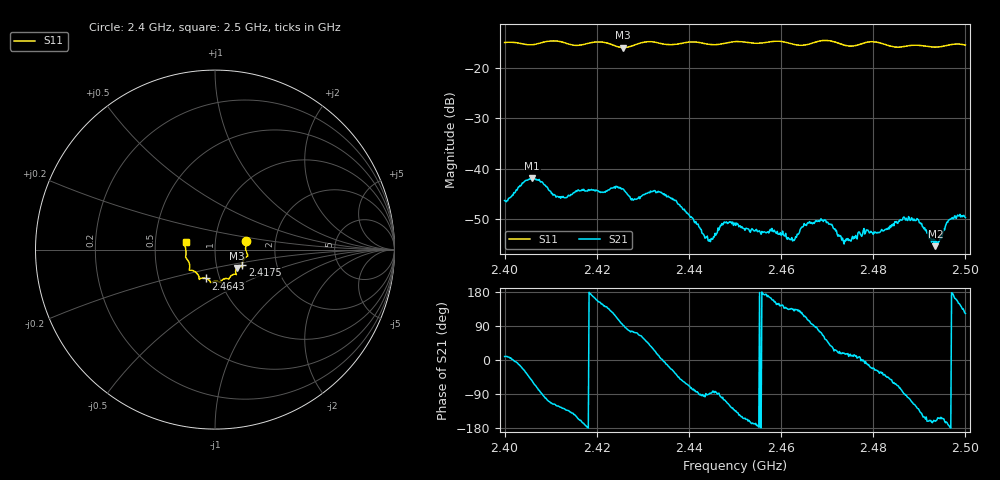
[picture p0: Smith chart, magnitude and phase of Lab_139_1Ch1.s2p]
# Hz S RI R 50
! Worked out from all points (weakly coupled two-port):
!   601 points, 2.4 GHz to 2.5 GHz, reference 50 ohm
!   highest |S21| = -41.89 dB at 2.406 GHz (marker M1); lowest = -55.4 dB at 2.4935 GHz (marker M2)
!   lowest |S11| = -15.9 dB at 2.4257 GHz (marker M3), VSWR 1.38, Z = 62.5 - j13.1 ohm
!   |S11| at or under -10 dB: start of sweep to end of sweep
!   S12 and S22 are empty: the file has one direction only
!   S11 on the Smith chart (normalised r, x): 2.4 GHz: 1.41, +0.14; 2.4175 GHz: 1.34, -0.23; 2.4643 GHz: 0.86, -0.29; 2.5 GHz: 0.72, +0.06
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2.4e9  0.1728 0.0489  0.00476 0.000776  0 0  0 0
2.406e9  0.1708 0.00222  0.00454 -0.00664  0 0  0 0
2.411667e9  0.1813 -0.0365  -0.00274 -0.00449  0 0  0 0
2.416667e9  0.1528 -0.0741  -0.00577 -0.00187  0 0  0 0
2.4175e9  0.1517 -0.0836  -0.00593 -0.00085  0 0  0 0
2.425667e9  0.123 -0.1019  -0.000218 0.00629  0 0  0 0
2.428e9  0.1146 -0.123  0.00142 0.00468  0 0  0 0
2.433333e9  0.1131 -0.1373  0.00583 0.00125  0 0  0 0
2.4375e9  0.0845 -0.1511  0.00339 -0.00302  0 0  0 0
2.444167e9  0.0623 -0.161  -2.37e-05 -0.00193  0 0  0 0
2.447667e9  0.0368 -0.1718  -0.000773 -0.00286  0 0  0 0
2.45e9  0.029 -0.181  -0.00202 -0.00208  0 0  0 0
2.462333e9  -0.0319 -0.1711  -0.00147 0.00145  0 0  0 0
2.464333e9  -0.0499 -0.1609  -0.00145 0.00212  0 0  0 0
2.466667e9  -0.0758 -0.1593  -0.000252 0.00287  0 0  0 0
2.469833e9  -0.0885 -0.1662  0.00175 0.00232  0 0  0 0
2.473667e9  -0.0951 -0.14  0.0017 0.000553  0 0  0 0
2.483333e9  -0.1409 -0.09  0.00179 -0.0019  0 0  0 0
2.489333e9  -0.1632 -0.0436  -0.00167 -0.00258  0 0  0 0
2.4935e9  -0.1613 -0.0082  -0.00161 -0.000537  0 0  0 0
2.496667e9  -0.1687 0.0248  -0.00315 -0.000126  0 0  0 0
2.5e9  -0.164 0.043  -0.00176 0.00276  0 0  0 0
